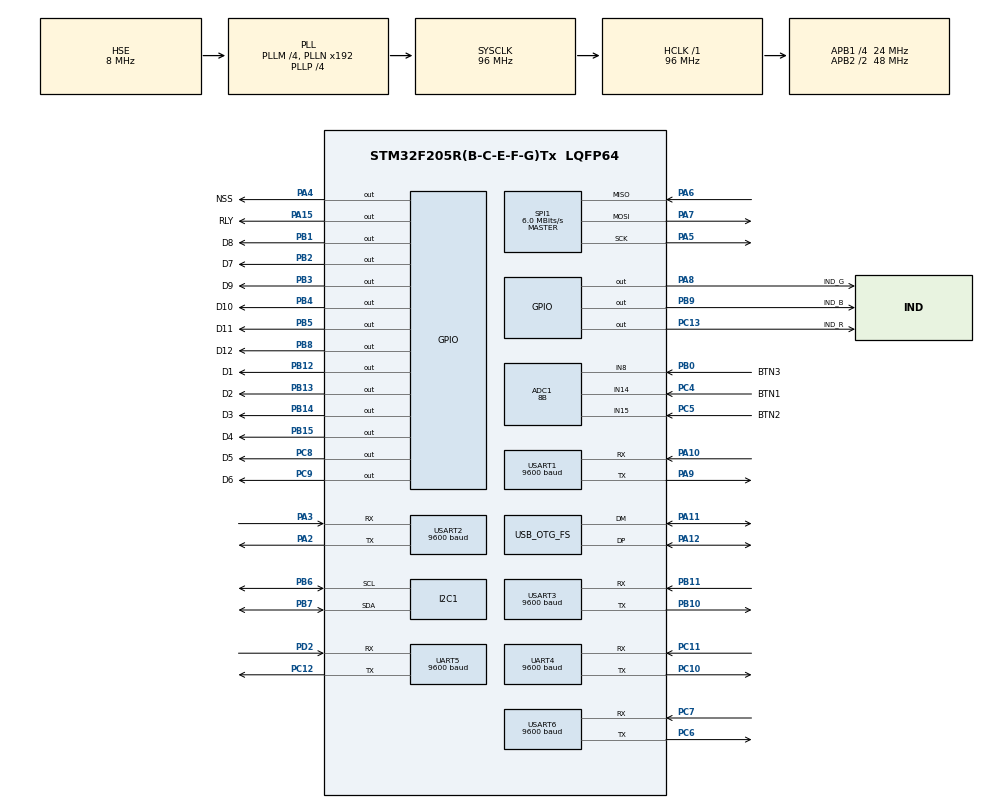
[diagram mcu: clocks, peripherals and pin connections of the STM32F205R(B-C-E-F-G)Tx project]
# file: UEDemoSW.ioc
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ADC1.Channel-4\#ChannelRegularConversion=ADC_CHANNEL_14
ADC1.Channel-5\#ChannelRegularConversion=ADC_CHANNEL_15
ADC1.Channel-6\#ChannelRegularConversion=ADC_CHANNEL_8
ADC1.ClockPrescaler=ADC_CLOCK_SYNC_PCLK_DIV4
ADC1.ContinuousConvMode=ENABLE
ADC1.DMAContinuousRequests=ENABLE
ADC1.DataAlign=ADC_DATAALIGN_RIGHT
ADC1.EOCSelection=ADC_EOC_SEQ_CONV
ADC1.ExternalTrigConv=ADC_EXTERNALTRIGCONV_T2_TRGO
ADC1.InjNumberOfConversion=0
ADC1.NbrOfConversion=3
ADC1.NbrOfConversionFlag=1
ADC1.Rank-4\#ChannelRegularConversion=1
ADC1.Rank-5\#ChannelRegularConversion=2
ADC1.Rank-6\#ChannelRegularConversion=3
ADC1.Resolution=ADC_RESOLUTION_8B
ADC1.SamplingTime-4\#ChannelRegularConversion=ADC_SAMPLETIME_84CYCLES
ADC1.SamplingTime-5\#ChannelRegularConversion=ADC_SAMPLETIME_84CYCLES
ADC1.SamplingTime-6\#ChannelRegularConversion=ADC_SAMPLETIME_84CYCLES
ADC1.ScanConvMode=ENABLE
ADC1.master=1
Dma.ADC1.0.Direction=DMA_PERIPH_TO_MEMORY
Dma.ADC1.0.FIFOMode=DMA_FIFOMODE_DISABLE
Dma.ADC1.0.Instance=DMA2_Stream0
Dma.ADC1.0.MemDataAlignment=DMA_MDATAALIGN_WORD
Dma.ADC1.0.MemInc=DMA_MINC_ENABLE
Dma.ADC1.0.Mode=DMA_CIRCULAR
Dma.ADC1.0.PeriphDataAlignment=DMA_PDATAALIGN_WORD
Dma.ADC1.0.PeriphInc=DMA_PINC_DISABLE
Dma.ADC1.0.Priority=DMA_PRIORITY_LOW
Dma.Request0=ADC1
FATFS._MAX_SS=4096
FATFS._USE_LFN=1
Mcu.Family=STM32F2
Mcu.Name=STM32F205R(B-C-E-F-G)Tx
Mcu.Package=LQFP64
NVIC.DMA2_Stream0_IRQn=true\:0\:0\:false\:false\:true\:false
NVIC.OTG_FS_IRQn=true\:0\:0\:false\:false\:true\:false
NVIC.PriorityGroup=NVIC_PRIORITYGROUP_4
NVIC.TIM1_UP_TIM10_IRQn=true\:0\:0\:false\:false\:true\:true
NVIC.TIM3_IRQn=true\:0\:0\:false\:false\:true\:true
NVIC.UART4_IRQn=true\:0\:0\:false\:false\:true\:true
NVIC.UART5_IRQn=true\:0\:0\:false\:false\:true\:true
NVIC.USART1_IRQn=true\:0\:0\:false\:false\:true\:true
NVIC.USART2_IRQn=true\:0\:0\:false\:false\:true\:true
NVIC.USART3_IRQn=true\:0\:0\:false\:false\:true\:true
NVIC.USART6_IRQn=true\:0\:0\:false\:false\:true\:true
PA0-WKUP.GPIO_Label=A5
PA0-WKUP.Signal=ADCx_IN0
PA1.GPIO_Label=A6
PA1.Signal=ADCx_IN1
PA10.Mode=Asynchronous
PA10.Signal=USART1_RX
PA11.Mode=Device_Only
PA11.Signal=USB_OTG_FS_DM
PA12.Mode=Device_Only
PA12.Signal=USB_OTG_FS_DP
PA15.GPIO_Label=RLY
PA15.Signal=GPIO_Output
PA2.Mode=Asynchronous
PA2.Signal=USART2_TX
PA3.Mode=Asynchronous
PA3.Signal=USART2_RX
PA4.GPIO_Label=NSS
PA4.GPIO_Speed=GPIO_SPEED_FREQ_MEDIUM
PA4.PinState=GPIO_PIN_SET
PA4.Signal=GPIO_Output
PA5.Mode=Full_Duplex_Master
PA5.Signal=SPI1_SCK
PA6.Mode=Full_Duplex_Master
PA6.Signal=SPI1_MISO
PA7.Mode=Full_Duplex_Master
PA7.Signal=SPI1_MOSI
PA8.GPIO_Label=IND_G
PA8.PinState=GPIO_PIN_SET
PA8.Signal=GPIO_Output
PA9.Mode=Asynchronous
PA9.Signal=USART1_TX
PB0.GPIO_Label=BTN3
PB0.Signal=ADCx_IN8
PB1.GPIO_Label=D8
PB1.Signal=GPIO_Output
PB10.Mode=Asynchronous
PB10.Signal=USART3_TX
PB11.Mode=Asynchronous
PB11.Signal=USART3_RX
PB12.GPIO_Label=D1
PB12.Signal=GPIO_Output
PB13.GPIO_Label=D2
PB13.Signal=GPIO_Output
PB14.GPIO_Label=D3
PB14.Signal=GPIO_Output
PB15.GPIO_Label=D4
PB15.Signal=GPIO_Output
PB2.GPIO_Label=D7
PB2.Signal=GPIO_Output
PB3.GPIO_Label=D9
PB3.Signal=GPIO_Output
PB4.GPIO_Label=D10
PB4.Signal=GPIO_Output
PB5.GPIO_Label=D11
PB5.Signal=GPIO_Output
PB6.Mode=I2C
PB6.Signal=I2C1_SCL
PB7.Mode=I2C
PB7.Signal=I2C1_SDA
PB8.GPIO_Label=D12
PB8.Signal=GPIO_Output
PB9.GPIO_Label=IND_B
PB9.PinState=GPIO_PIN_SET
PB9.Signal=GPIO_Output
PC0.GPIO_Label=A1
PC0.Signal=ADCx_IN10
PC1.GPIO_Label=A2
PC1.Signal=ADCx_IN11
PC10.Mode=Asynchronous
PC10.Signal=UART4_TX
PC11.Mode=Asynchronous
PC11.Signal=UART4_RX
PC12.Mode=Asynchronous
PC12.Signal=UART5_TX
PC13.GPIO_Label=IND_R
PC13.PinState=GPIO_PIN_SET
PC13.Signal=GPIO_Output
PC14-OSC32_IN.Mode=LSE-External-Oscillator
PC14-OSC32_IN.Signal=RCC_OSC32_IN
PC15-OSC32_OUT.Mode=LSE-External-Oscillator
PC15-OSC32_OUT.Signal=RCC_OSC32_OUT
PC2.GPIO_Label=A3
PC2.Signal=ADCx_IN12
PC3.GPIO_Label=A4
PC3.Signal=ADCx_IN13
PC4.GPIO_Label=BTN1
PC4.Signal=ADCx_IN14
PC5.GPIO_Label=BTN2
PC5.Signal=ADCx_IN15
PC6.Mode=Asynchronous
PC6.Signal=USART6_TX
PC7.Mode=Asynchronous
PC7.Signal=USART6_RX
PC8.GPIO_Label=D5
PC8.Signal=GPIO_Output
PC9.GPIO_Label=D6
PC9.Signal=GPIO_Output
PD2.Mode=Asynchronous
PD2.Signal=UART5_RX
PH0-OSC_IN.Mode=HSE-External-Oscillator
PH0-OSC_IN.Signal=RCC_OSC_IN
PH1-OSC_OUT.Mode=HSE-External-Oscillator
PH1-OSC_OUT.Signal=RCC_OSC_OUT
ProjectManager.HeapSize=0x2000
ProjectManager.StackSize=0x4000
ProjectManager.TargetToolchain=SW4STM32
RCC.48MHZClocksFreq_Value=48000000
RCC.AHBFreq_Value=96000000
RCC.APB1CLKDivider=RCC_HCLK_DIV4
RCC.APB1Freq_Value=24000000
RCC.APB1TimFreq_Value=48000000
RCC.APB2CLKDivider=RCC_HCLK_DIV2
RCC.APB2Freq_Value=48000000
RCC.APB2TimFreq_Value=96000000
RCC.CortexFreq_Value=96000000
RCC.HCLKFreq_Value=96000000
RCC.HSE_VALUE=8000000
RCC.HSI_VALUE=16000000
RCC.PLLM=4
RCC.PLLP=RCC_PLLP_DIV4
RCC.PLLQ=8
RCC.PLLSourceVirtual=RCC_PLLSOURCE_HSE
RCC.RCC_RTC_Clock_Source=RCC_RTCCLKSOURCE_LSE
RCC.RCC_RTC_Clock_SourceVirtual=RCC_RTCCLKSOURCE_LSE
RCC.SYSCLKFreq_VALUE=96000000
RCC.SYSCLKSource=RCC_SYSCLKSOURCE_PLLCLK
RCC.VCOOutputFreq_Value=384000000
RTC.Date=12
RTC.Format=RTC_FORMAT_BIN
RTC.Hours=3
RTC.Minutes=17
RTC.Month=RTC_MONTH_DECEMBER
RTC.WeekDay=RTC_WEEKDAY_THURSDAY
RTC.Year=18
SH.ADCx_IN0.0=ADC1_IN0
SH.ADCx_IN1.0=ADC1_IN1
SH.ADCx_IN10.0=ADC1_IN10
SH.ADCx_IN11.0=ADC1_IN11
SH.ADCx_IN12.0=ADC1_IN12
SH.ADCx_IN13.0=ADC1_IN13
SH.ADCx_IN14.0=ADC1_IN14,IN14
SH.ADCx_IN15.0=ADC1_IN15,IN15
SH.ADCx_IN8.0=ADC1_IN8,IN8
SPI1.BaudRatePrescaler=SPI_BAUDRATEPRESCALER_8
SPI1.CalculateBaudRate=6.0 MBits/s
SPI1.Direction=SPI_DIRECTION_2LINES
SPI1.Mode=SPI_MODE_MASTER
SPI1.VirtualType=VM_MASTER
TIM10.Period=10
TIM10.Prescaler=48000
TIM2.Period=100
TIM2.Prescaler=1600
TIM2.TIM_MasterOutputTrigger=TIM_TRGO_UPDATE
TIM3.Period=9
TIM3.Prescaler=48000
UART4.BaudRate=9600
UART4.VirtualMode=Asynchronous
UART5.BaudRate=9600
UART5.VirtualMode=Asynchronous
USART1.BaudRate=9600
USART1.VirtualMode=VM_ASYNC
USART2.BaudRate=9600
USART2.VirtualMode=VM_ASYNC
USART3.BaudRate=9600
USART3.VirtualMode=VM_ASYNC
USART6.BaudRate=9600
USART6.VirtualMode=VM_ASYNC
USB_DEVICE.CLASS_NAME_FS=CDC
USB_DEVICE.MANUFACTURER_STRING-CDC_FS=Instinct IoT
USB_DEVICE.PRODUCT_STRING_CDC_FS=Instinct IoT ComPort
USB_DEVICE.VirtualMode-CDC_FS=Cdc
USB_DEVICE.VirtualModeFS=Cdc_FS
USB_OTG_FS.VirtualMode=Device_Only
VP_FATFS_VS_Generic.Mode=User_defined
VP_RTC_VS_RTC_Activate.Mode=RTC_Enabled
VP_RTC_VS_RTC_Calendar.Mode=RTC_Calendar
VP_TIM10_VS_ClockSourceINT.Mode=Enable_Timer
VP_TIM2_VS_ClockSourceINT.Mode=Internal
VP_TIM3_VS_ClockSourceINT.Mode=Internal
VP_USB_DEVICE_VS_USB_DEVICE_CDC_FS.Mode=CDC_FS
board=custom

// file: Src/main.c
/* USER CODE BEGIN Header */
/**
  ******************************************************************************
  * @file           : main.c
  * @brief          : Main program body
  *
  * NOTES:
  * - printf requires syscalls.c to be in /src folder, along with PUTCHAR prototype mapped to a UART
  * - If compiler not working, go to Debug -> Debug Configurations -> Debugger -> Show generation options -> Reset Mode
  *   -> Software System Reset
  ******************************************************************************
  * This notice applies to any and all portions of this file
  * that are not between comment pairs USER CODE BEGIN and
  * USER CODE END. Other portions of this file, whether
  * inserted by the user or by software development tools
  * are owned by their respective copyright owners.
  *
  * Copyright (c) 2019 STMicroelectronics International N.V.
  * All rights reserved.
  *
  * Redistribution and use in source and binary forms, with or without
  * modification, are permitted, provided that the following conditions are met:
  *
  * 1. Redistribution of source code must retain the above copyright notice,
  *    this list of conditions and the following disclaimer.
  * 2. Redistributions in binary form must reproduce the above copyright notice,
  *    this list of conditions and the following disclaimer in the documentation
  *    and/or other materials provided with the distribution.
  * 3. Neither the name of STMicroelectronics nor the names of other
  *    contributors to this software may be used to endorse or promote products
  *    derived from this software without specific written permission.
  * 4. This software, including modifications and/or derivative works of this
  *    software, must execute solely and exclusively on microcontroller or
  *    microprocessor devices manufactured by or for STMicroelectronics.
  * 5. Redistribution and use of this software other than as permitted under
  *    this license is void and will automatically terminate your rights under
  *    this license.
  *
  * THIS SOFTWARE IS PROVIDED BY STMICROELECTRONICS AND CONTRIBUTORS "AS IS"
  * AND ANY EXPRESS, IMPLIED OR STATUTORY WARRANTIES, INCLUDING, BUT NOT
  * LIMITED TO, THE IMPLIED WARRANTIES OF MERCHANTABILITY, FITNESS FOR A
  * PARTICULAR PURPOSE AND NON-INFRINGEMENT OF THIRD PARTY INTELLECTUAL PROPERTY
  * RIGHTS ARE DISCLAIMED TO THE FULLEST EXTENT PERMITTED BY LAW. IN NO EVENT
  * SHALL STMICROELECTRONICS OR CONTRIBUTORS BE LIABLE FOR ANY DIRECT, INDIRECT,
  * INCIDENTAL, SPECIAL, EXEMPLARY, OR CONSEQUENTIAL DAMAGES (INCLUDING, BUT NOT
  * LIMITED TO, PROCUREMENT OF SUBSTITUTE GOODS OR SERVICES; LOSS OF USE, DATA,
  * OR PROFITS; OR BUSINESS INTERRUPTION) HOWEVER CAUSED AND ON ANY THEORY OF
  * LIABILITY, WHETHER IN CONTRACT, STRICT LIABILITY, OR TORT (INCLUDING
  * NEGLIGENCE OR OTHERWISE) ARISING IN ANY WAY OUT OF THE USE OF THIS SOFTWARE,
  * EVEN IF ADVISED OF THE POSSIBILITY OF SUCH DAMAGE.
  *
  ******************************************************************************
  */

	//REFERENCES:
	//USB CDC		https://www.youtube.com/watch?v=Jpul3w10tOU
	//ADC DMA		https://www.youtube.com/watch?v=GP67dgnurvw

/* USER CODE END Header */

#include "main.h"
#include "fatfs.h"
#include "usb_device.h"

/* USER CODE BEGIN Includes */
#include "usbd_cdc_if.h"
#include "dwt_stm32_delay.h"

//Custom configuration Includes

#include "button_conf.h"
#include "audio_conf.h"
#include "sd_conf.h"

#include "actions.h"
#include "events.h"

/* USER CODE END Includes */

ADC_HandleTypeDef hadc1;
DMA_HandleTypeDef hdma_adc1;

I2C_HandleTypeDef hi2c1;

RTC_HandleTypeDef hrtc;

SPI_HandleTypeDef hspi1;

TIM_HandleTypeDef htim2;
TIM_HandleTypeDef htim3;
TIM_HandleTypeDef htim10;

UART_HandleTypeDef huart4;
UART_HandleTypeDef huart5;
UART_HandleTypeDef huart1;
UART_HandleTypeDef huart2;
UART_HandleTypeDef huart3;
UART_HandleTypeDef huart6;

/* USER CODE BEGIN PV */

//SD Card Variables
FATFS fs;
FATFS *pfs;
FIL fil;
FRESULT fres;
DWORD fre_clust;
uint32_t total,freespace;
char buffer[100];
volatile uint8_t Timer1, Timer2;

// System Variables
int i=0;
int usb_data = 0;

//Data Buffers

static uint8_t uart1_recv_data[uart_recv_length];
static uint8_t uart2_recv_data[uart_recv_length];
static uint8_t uart3_recv_data[uart_recv_length];
static uint8_t uart4_recv_data[uart_recv_length];
static uint8_t uart5_recv_data[uart_recv_length];
static uint8_t uart6_recv_data[uart_recv_length];

static uint8_t uart1_command[uart_command_length];
static uint8_t uart2_command[uart_command_length];
static uint8_t uart3_command[uart_command_length];
static uint8_t uart4_command[uart_command_length];
static uint8_t uart5_command[uart_command_length];
static uint8_t uart6_command[uart_command_length];

int uart1_pointer = 0;
int uart2_pointer = 0;
int uart3_pointer = 0;
int uart4_pointer = 0;
int uart5_pointer = 0;
int uart6_pointer = 0;

uint8_t print_buffer[10];
uint8_t mp3_command[1];
uint8_t led_command[1];
uint8_t usb_rx[20];
uint8_t usb_tx[20];
uint8_t log_buffer[100];
uint8_t sd_buffer[1000];

// Data Point Variables
uint8_t id_sensor [3];
uint8_t sensor_num [3];
uint8_t data [3];

// RTC BACKUP REGISTER
uint32_t bkr_value;

// Audio & Digital Pot Variables
int Value = 511;
uint8_t currentPort = 0x00;
_Bool playing = 0;

// System Logic
uint8_t inByte;						// Last byte read from SD

int systemLogic[300][10];	// 2D Matrix which maps events to actions
int systemAction = 0;				// Action Pointer
int systemEvent = 0;				// Event Pointer
uint8_t numberBuffer[4];
int numberBufferPointer = 0;

// SD Serial Commands
char serialRX[100][20];			// Receivable commands
char serialTX[100][20];			// Send commands
int serialCmdPointer = 0;		// Command Pointer
int serialCharPointer = 0;		// Character Pointer

// Loop Counters
int i;
int j;

// ADC Values
uint32_t btnVal[3];

// Time Buffer
unsigned char *date_string [10];
unsigned char *time_string [10];

/* USER CODE END PV */

void SystemClock_Config(void);
static void MX_GPIO_Init(void);
static void MX_DMA_Init(void);
static void MX_USART2_UART_Init(void);
static void MX_USART3_UART_Init(void);
static void MX_UART4_Init(void);
static void MX_UART5_Init(void);
static void MX_SPI1_Init(void);
static void MX_ADC1_Init(void);
static void MX_RTC_Init(void);
static void MX_USART1_UART_Init(void);
static void MX_I2C1_Init(void);
static void MX_USART6_UART_Init(void);
static void MX_TIM3_Init(void);
static void MX_TIM2_Init(void);
static void MX_TIM10_Init(void);
/* USER CODE BEGIN PFP */

void HAL_TIM_PeriodElapsedCallback(TIM_HandleTypeDef*htim){
	if(htim->Instance == TIM3){

	}
}

void getTime(void){
	RTC_DateTypeDef gDate;
	RTC_TimeTypeDef gTime;

	// Get the RTC current time
	HAL_RTC_GetTime(&hrtc, &gTime, RTC_FORMAT_BIN);

	// Get the RTC current date
	HAL_RTC_GetDate(&hrtc, &gDate, RTC_FORMAT_BIN);
	//sprintf(date_string, "%02d-%02d-%02d",gDate.Year + 2000, gDate.Month, gDate.Date);
	//sprintf(time_string, "%02d:%02d:%02d",gTime.Hours, gTime.Minutes, gTime.Seconds);
}

int receiveSerial(uint8_t port, uint8_t uart_recv_data[], uint8_t uart_command[uart_command_length], int uart_pointer){
	if(uart_recv_data[0] != '\r' && uart_recv_data[0] != '\n'){
		uart_command[uart_pointer] = uart_recv_data[0];
		uart_pointer++;
	}else{
		uart_pointer=0;
		memset(uart_command,0,uart_command_length);
	}
	if(uart_recv_data[0] == ']'){
		if(forwardSerial(uart_command) == 0){
			getSerialEvent(port,uart_command);
		}
		uart_pointer = 0;
		memset(uart_command,0,uart_command_length);
	}
	if(uart_pointer == 11){
		uart_pointer = 0;
		memset(uart_command,0,uart_command_length);
	}
	return uart_pointer;
}

int logSerial(){
	return(1);
}

int forwardSerial(uint8_t serial_buffer[]){
	//Returns 0 if not forwarded
	uint8_t serial_out[strlen(serial_buffer)];
	UART_HandleTypeDef* huart;
	if(serial_buffer[0] != '['){
		switch(serial_buffer[0]){
			case 'U':
				memmove(serial_out, serial_buffer+1, strlen (serial_buffer+1) + 1);
				CDC_Transmit_FS(serial_out, strlen(serial_out));
				return(1);
			case '1':
				huart = &huart1;
				break;
			case '2':
				huart = &huart2;
				break;
			case '3':
				huart = &huart3;
				break;
			case '4':
				huart = &huart4;
				break;
			case '5':
				huart = &huart5;
				break;
			case '6':
				huart = &huart6;
				break;
		}
		memmove(serial_out, serial_buffer+1, strlen (serial_buffer+1) + 1);
		HAL_UART_Transmit(huart,serial_out, strlen(serial_out), 100);
		return(1);
	}
	else{
		return(0);
	}
}

/* USER CODE END PFP */

/* USER CODE BEGIN 0 */

#ifdef __GNUC__
/* With GCC/RAISONANCE, small printf (option LD Linker->Libraries->Small printf
 set to 'Yes') calls __io_putchar() */
#define PUTCHAR_PROTOTYPE int __io_putchar(int ch)
#else
#define PUTCHAR_PROTOTYPE int fputc(int ch, FILE *f)
#endif /* __GNUC__ */

//UART CALLBACK
void HAL_UART_RxCpltCallback(UART_HandleTypeDef *huart){

	/*
	Serial Ports:

	UART6		UART4		UART2
	UART3		UART1		UART5

	printf configured to UART1
	*/

	// UART1
	if(huart->Instance == USART1){
		uart1_pointer = receiveSerial('1', uart1_recv_data, uart1_command, uart1_pointer);
		HAL_UART_Receive_IT(&huart1, uart1_recv_data, uart_recv_length);
	}

	// UART2
	if(huart->Instance == USART2){
		uart2_pointer = receiveSerial('2', uart2_recv_data, uart2_command, uart2_pointer);
		HAL_UART_Receive_IT(&huart2, uart2_recv_data, uart_recv_length);
	}

	// UART3
	if(huart->Instance == USART3){
		uart3_pointer = receiveSerial('3', uart3_recv_data, uart3_command, uart3_pointer);
		HAL_UART_Receive_IT(&huart3, uart3_recv_data, uart_recv_length);
	}

	// UART4
	if(huart->Instance == UART4){
		uart4_pointer = receiveSerial('4', uart4_recv_data, uart4_command, uart4_pointer);
		HAL_UART_Receive_IT(&huart4, uart4_recv_data, uart_recv_length);
	}

	// UART5
	if(huart->Instance == UART5){
		uart5_pointer = receiveSerial('2', uart5_recv_data, uart5_command, uart5_pointer);
		HAL_UART_Receive_IT(&huart5, uart5_recv_data, uart_recv_length);
	}

	// UART6
	if(huart->Instance == USART6){
		uart6_pointer = receiveSerial('6', uart6_recv_data, uart6_command, uart6_pointer);
		HAL_UART_Receive_IT(&huart6, uart6_recv_data, uart_recv_length);
	}
}
/* USER CODE END 0 */

int main(void)
{

  /* MCU Configuration--------------------------------------------------------*/

  /* Reset of all peripherals, Initializes the Flash interface and the Systick. */
  HAL_Init();

  /* Configure the system clock */
  SystemClock_Config();

  /* Initialize all configured peripherals */
  MX_GPIO_Init();
  MX_DMA_Init();
  MX_USART2_UART_Init();
  MX_USART3_UART_Init();
  MX_UART4_Init();
  MX_UART5_Init();
  MX_SPI1_Init();
  MX_ADC1_Init();
  MX_RTC_Init();
  MX_USART1_UART_Init();
  MX_I2C1_Init();
  MX_USART6_UART_Init();
  MX_USB_DEVICE_Init();
  MX_FATFS_Init();
  MX_TIM3_Init();
  MX_TIM2_Init();
  MX_TIM10_Init();
  /* USER CODE BEGIN 2 */

  //TIMER & DELAYS
	DWT_Delay_Init();
	HAL_TIM_Base_Start_IT(&htim3);

	//UARTS
	HAL_UART_Receive_IT(&huart1, uart1_recv_data, uart_recv_length);	//Start UART1 Interrupt
	HAL_UART_Receive_IT(&huart2, uart2_recv_data, uart_recv_length);	//Start UART2 Interrupt
	HAL_UART_Receive_IT(&huart3, uart3_recv_data, uart_recv_length);	//Start UART3 Interrupt
	HAL_UART_Receive_IT(&huart4, uart4_recv_data, uart_recv_length);	//Start UART4 Interrupt
	HAL_UART_Receive_IT(&huart5, uart5_recv_data, uart_recv_length);	//Start UART5 Interrupt
	HAL_UART_Receive_IT(&huart6, uart6_recv_data, uart_recv_length);	//Start UART6 Interrupt

	//USB

	//GPIOS
	HAL_GPIO_WritePin(GPIOA,GPIO_PIN_15,GPIO_PIN_SET);	//RELAY

	//INIT BUTTON
	//Start Button Timer
	HAL_TIM_Base_Start(&htim2);
	//Start ADC as DMA
	HAL_ADC_Start_DMA(&hadc1,btnVal,3);

	HAL_TIM_Base_Start_IT(&htim10);

	mutePorts();

	// Parse System Logic from config.txt on microSD Card
	memset(sd_buffer, 0, sizeof(sd_buffer));

	f_mount(&fs, "", 0);
	f_open(&fil,"config.txt",FA_READ);
	f_read(&fil,&sd_buffer,1000,1000);
	f_close(&fil);	// Close the file

	numberBufferPointer = 0;
	memset(numberBuffer,0, sizeof(numberBuffer));

	for(i=0; i<sizeof(sd_buffer); i++){
		inByte = sd_buffer[i];

		if(inByte == '|'){
			systemEvent = atoi(numberBuffer);
			systemAction = 0;
			numberBufferPointer = 0;
			memset(numberBuffer,0, sizeof(numberBuffer));
		}
		else if(inByte == ',' || inByte == ';'){
			systemLogic[systemEvent][systemAction] = atoi(numberBuffer);
			systemAction++;
			numberBufferPointer = 0;
			memset(numberBuffer,0, sizeof(numberBuffer));
		}
		else if(inByte == '\r' || inByte == ' ' || inByte == '\0'){
			//Skip
		}
		else if(inByte == '\n'){
			numberBufferPointer = 0;
			memset(numberBuffer,0, sizeof(numberBuffer));
		}
		else{
			numberBuffer[numberBufferPointer] = inByte;
			numberBufferPointer++;
		}
	}

	// Parse commands from serialTX.txt on microSD Card
	memset(sd_buffer, 0, sizeof(sd_buffer));

	f_mount(&fs, "", 0);
	f_open(&fil,"serialTX.txt",FA_READ);
	f_read(&fil,&sd_buffer,1000,1000);
	f_close(&fil);	// Close the file

	serialCmdPointer = 0;
	for(i=0; i<sizeof(sd_buffer); i++){
		inByte = sd_buffer[i];

		if(inByte == '|'){
			serialCharPointer = 0;
		}
		else if(inByte == ',' || inByte == ';'){
		}
		else if(inByte == '\r' || inByte == ' '){
			//Skip
		}
		else if(inByte == '\n'){
			serialCmdPointer++;
			serialCharPointer = 0;
		}
		else{
			serialTX[serialCmdPointer][serialCharPointer] = inByte;
			serialCharPointer++;
		}
	}

	// Parse commands from serialRX.txt on microSD Card
	memset(sd_buffer, 0, sizeof(sd_buffer));

	f_mount(&fs, "", 0);
	f_open(&fil,"serialRX.txt",FA_READ);
	f_read(&fil,&sd_buffer,1000,1000);
	f_close(&fil);	// Close the file

	serialCmdPointer = 0;
	for(i=0; i<sizeof(sd_buffer); i++){
		inByte = sd_buffer[i];

		if(inByte == '|'){
			serialCharPointer = 0;
		}
		else if(inByte == ',' || inByte == ';'){
		}
		else if(inByte == '\r' || inByte == ' '){
			//Skip
		}
		else if(inByte == '\n'){
			serialCmdPointer++;
			serialCharPointer = 0;
		}
		else{
			serialRX[serialCmdPointer][serialCharPointer] = inByte;
			serialCharPointer++;
		}
	}

	performAction(2);

  /* USER CODE END 2 */

  /* Infinite loop */
  /* USER CODE BEGIN WHILE */
  while (1)
  {
	  // CHECK BUTTONS
	  getButtonEvent();

	  // RECEIVE USB COMMANDS
	  if(usb_data == 1){
		  usb_data = 0;
		  if (forwardSerial(usb_rx) == 0){
			  //performAction?
			  getSerialEvent('U',usb_rx);
		  }
		  memset(usb_rx,0,sizeof(usb_rx));
	  }

    /* USER CODE END WHILE */

  }
}

void SystemClock_Config(void)
{
  RCC_OscInitTypeDef RCC_OscInitStruct = {0};
  RCC_ClkInitTypeDef RCC_ClkInitStruct = {0};
  RCC_PeriphCLKInitTypeDef PeriphClkInitStruct = {0};

  /**Initializes the CPU, AHB and APB busses clocks
  */
  RCC_OscInitStruct.OscillatorType = RCC_OSCILLATORTYPE_HSE|RCC_OSCILLATORTYPE_LSE;
  RCC_OscInitStruct.HSEState = RCC_HSE_ON;
  RCC_OscInitStruct.LSEState = RCC_LSE_ON;
  RCC_OscInitStruct.PLL.PLLState = RCC_PLL_ON;
  RCC_OscInitStruct.PLL.PLLSource = RCC_PLLSOURCE_HSE;
  RCC_OscInitStruct.PLL.PLLM = 4;
  RCC_OscInitStruct.PLL.PLLN = 192;
  RCC_OscInitStruct.PLL.PLLP = RCC_PLLP_DIV4;
  RCC_OscInitStruct.PLL.PLLQ = 8;
  if (HAL_RCC_OscConfig(&RCC_OscInitStruct) != HAL_OK)
  {
    Error_Handler();
  }
  /**Initializes the CPU, AHB and APB busses clocks
  */
  RCC_ClkInitStruct.ClockType = RCC_CLOCKTYPE_HCLK|RCC_CLOCKTYPE_SYSCLK
                              |RCC_CLOCKTYPE_PCLK1|RCC_CLOCKTYPE_PCLK2;
  RCC_ClkInitStruct.SYSCLKSource = RCC_SYSCLKSOURCE_PLLCLK;
  RCC_ClkInitStruct.AHBCLKDivider = RCC_SYSCLK_DIV1;
  RCC_ClkInitStruct.APB1CLKDivider = RCC_HCLK_DIV4;
  RCC_ClkInitStruct.APB2CLKDivider = RCC_HCLK_DIV2;

  if (HAL_RCC_ClockConfig(&RCC_ClkInitStruct, FLASH_LATENCY_3) != HAL_OK)
  {
    Error_Handler();
  }
  PeriphClkInitStruct.PeriphClockSelection = RCC_PERIPHCLK_RTC;
  PeriphClkInitStruct.RTCClockSelection = RCC_RTCCLKSOURCE_LSE;
  if (HAL_RCCEx_PeriphCLKConfig(&PeriphClkInitStruct) != HAL_OK)
  {
    Error_Handler();
  }
}

static void MX_ADC1_Init(void)
{

  ADC_ChannelConfTypeDef sConfig = {0};

  /**Configure the global features of the ADC (Clock, Resolution, Data Alignment and number of conversion)
  */
  hadc1.Instance = ADC1;
  hadc1.Init.ClockPrescaler = ADC_CLOCK_SYNC_PCLK_DIV4;
  hadc1.Init.Resolution = ADC_RESOLUTION_8B;
  hadc1.Init.ScanConvMode = ENABLE;
  hadc1.Init.ContinuousConvMode = ENABLE;
  hadc1.Init.DiscontinuousConvMode = DISABLE;
  hadc1.Init.ExternalTrigConvEdge = ADC_EXTERNALTRIGCONVEDGE_RISING;
  hadc1.Init.ExternalTrigConv = ADC_EXTERNALTRIGCONV_T2_TRGO;
  hadc1.Init.DataAlign = ADC_DATAALIGN_RIGHT;
  hadc1.Init.NbrOfConversion = 3;
  hadc1.Init.DMAContinuousRequests = ENABLE;
  hadc1.Init.EOCSelection = ADC_EOC_SEQ_CONV;
  if (HAL_ADC_Init(&hadc1) != HAL_OK)
  {
    Error_Handler();
  }
  /**Configure for the selected ADC regular channel its corresponding rank in the sequencer and its sample time.
  */
  sConfig.Channel = ADC_CHANNEL_14;
  sConfig.Rank = 1;
  sConfig.SamplingTime = ADC_SAMPLETIME_84CYCLES;
  if (HAL_ADC_ConfigChannel(&hadc1, &sConfig) != HAL_OK)
  {
    Error_Handler();
  }
  /**Configure for the selected ADC regular channel its corresponding rank in the sequencer and its sample time.
  */
  sConfig.Channel = ADC_CHANNEL_15;
  sConfig.Rank = 2;
  if (HAL_ADC_ConfigChannel(&hadc1, &sConfig) != HAL_OK)
  {
    Error_Handler();
  }
  /**Configure for the selected ADC regular channel its corresponding rank in the sequencer and its sample time.
  */
  sConfig.Channel = ADC_CHANNEL_8;
  sConfig.Rank = 3;
  if (HAL_ADC_ConfigChannel(&hadc1, &sConfig) != HAL_OK)
  {
    Error_Handler();
  }

}

static void MX_I2C1_Init(void)
{

  hi2c1.Instance = I2C1;
  hi2c1.Init.ClockSpeed = 100000;
  hi2c1.Init.DutyCycle = I2C_DUTYCYCLE_2;
  hi2c1.Init.OwnAddress1 = 0;
  hi2c1.Init.AddressingMode = I2C_ADDRESSINGMODE_7BIT;
  hi2c1.Init.DualAddressMode = I2C_DUALADDRESS_DISABLE;
  hi2c1.Init.OwnAddress2 = 0;
  hi2c1.Init.GeneralCallMode = I2C_GENERALCALL_DISABLE;
  hi2c1.Init.NoStretchMode = I2C_NOSTRETCH_DISABLE;
  if (HAL_I2C_Init(&hi2c1) != HAL_OK)
  {
    Error_Handler();
  }

}

static void MX_RTC_Init(void)
{

  RTC_TimeTypeDef sTime = {0};
  RTC_DateTypeDef sDate = {0};

  /**Initialize RTC Only
  */
  hrtc.Instance = RTC;
  hrtc.Init.HourFormat = RTC_HOURFORMAT_24;
  hrtc.Init.AsynchPrediv = 127;
  hrtc.Init.SynchPrediv = 255;
  hrtc.Init.OutPut = RTC_OUTPUT_DISABLE;
  hrtc.Init.OutPutPolarity = RTC_OUTPUT_POLARITY_HIGH;
  hrtc.Init.OutPutType = RTC_OUTPUT_TYPE_OPENDRAIN;
  if (HAL_RTC_Init(&hrtc) != HAL_OK)
  {
    Error_Handler();
  }

  /* USER CODE BEGIN Check_RTC_BKUP */
  bkr_value = HAL_RTCEx_BKUPRead(&hrtc, RTC_BKP_DR1);
  if(HAL_RTCEx_BKUPRead(&hrtc, RTC_BKP_DR1) == 0x5051){
	  return;
  }
  /* USER CODE END Check_RTC_BKUP */

  /**Initialize RTC and set the Time and Date
  */
  sTime.Hours = 3;
  sTime.Minutes = 17;
  sTime.Seconds = 0;
  sTime.DayLightSaving = RTC_DAYLIGHTSAVING_NONE;
  sTime.StoreOperation = RTC_STOREOPERATION_RESET;
  if (HAL_RTC_SetTime(&hrtc, &sTime, RTC_FORMAT_BIN) != HAL_OK)
  {
    Error_Handler();
  }
  sDate.WeekDay = RTC_WEEKDAY_THURSDAY;
  sDate.Month = RTC_MONTH_DECEMBER;
  sDate.Date = 12;
  sDate.Year = 18;

  if (HAL_RTC_SetDate(&hrtc, &sDate, RTC_FORMAT_BIN) != HAL_OK)
  {
    Error_Handler();
  }
  /* USER CODE BEGIN RTC_Init 2 */
  HAL_RTCEx_BKUPWrite(&hrtc, RTC_BKP_DR1, 0x5051);//Write data to the specified backing area register
  /* USER CODE END RTC_Init 2 */

}

static void MX_SPI1_Init(void)
{

  /* SPI1 parameter configuration*/
  hspi1.Instance = SPI1;
  hspi1.Init.Mode = SPI_MODE_MASTER;
  hspi1.Init.Direction = SPI_DIRECTION_2LINES;
  hspi1.Init.DataSize = SPI_DATASIZE_8BIT;
  hspi1.Init.CLKPolarity = SPI_POLARITY_LOW;
  hspi1.Init.CLKPhase = SPI_PHASE_1EDGE;
  hspi1.Init.NSS = SPI_NSS_SOFT;
  hspi1.Init.BaudRatePrescaler = SPI_BAUDRATEPRESCALER_8;
  hspi1.Init.FirstBit = SPI_FIRSTBIT_MSB;
  hspi1.Init.TIMode = SPI_TIMODE_DISABLE;
  hspi1.Init.CRCCalculation = SPI_CRCCALCULATION_DISABLE;
  hspi1.Init.CRCPolynomial = 10;
  if (HAL_SPI_Init(&hspi1) != HAL_OK)
  {
    Error_Handler();
  }

}

static void MX_TIM2_Init(void)
{

  TIM_ClockConfigTypeDef sClockSourceConfig = {0};
  TIM_MasterConfigTypeDef sMasterConfig = {0};

  htim2.Instance = TIM2;
  htim2.Init.Prescaler = 1600;
  htim2.Init.CounterMode = TIM_COUNTERMODE_UP;
  htim2.Init.Period = 100;
  htim2.Init.ClockDivision = TIM_CLOCKDIVISION_DIV1;
  htim2.Init.AutoReloadPreload = TIM_AUTORELOAD_PRELOAD_DISABLE;
  if (HAL_TIM_Base_Init(&htim2) != HAL_OK)
  {
    Error_Handler();
  }
  sClockSourceConfig.ClockSource = TIM_CLOCKSOURCE_INTERNAL;
  if (HAL_TIM_ConfigClockSource(&htim2, &sClockSourceConfig) != HAL_OK)
  {
    Error_Handler();
  }
  sMasterConfig.MasterOutputTrigger = TIM_TRGO_UPDATE;
  sMasterConfig.MasterSlaveMode = TIM_MASTERSLAVEMODE_DISABLE;
  if (HAL_TIMEx_MasterConfigSynchronization(&htim2, &sMasterConfig) != HAL_OK)
  {
    Error_Handler();
  }

}

static void MX_TIM3_Init(void)
{

  TIM_ClockConfigTypeDef sClockSourceConfig = {0};
  TIM_MasterConfigTypeDef sMasterConfig = {0};

  htim3.Instance = TIM3;
  htim3.Init.Prescaler = 48000;
  htim3.Init.CounterMode = TIM_COUNTERMODE_UP;
  htim3.Init.Period = 9;
  htim3.Init.ClockDivision = TIM_CLOCKDIVISION_DIV1;
  htim3.Init.AutoReloadPreload = TIM_AUTORELOAD_PRELOAD_DISABLE;
  if (HAL_TIM_Base_Init(&htim3) != HAL_OK)
  {
    Error_Handler();
  }
  sClockSourceConfig.ClockSource = TIM_CLOCKSOURCE_INTERNAL;
  if (HAL_TIM_ConfigClockSource(&htim3, &sClockSourceConfig) != HAL_OK)
  {
    Error_Handler();
  }
  sMasterConfig.MasterOutputTrigger = TIM_TRGO_RESET;
  sMasterConfig.MasterSlaveMode = TIM_MASTERSLAVEMODE_DISABLE;
  if (HAL_TIMEx_MasterConfigSynchronization(&htim3, &sMasterConfig) != HAL_OK)
  {
    Error_Handler();
  }

}

static void MX_TIM10_Init(void)
{

  htim10.Instance = TIM10;
  htim10.Init.Prescaler = 48000;
  htim10.Init.CounterMode = TIM_COUNTERMODE_UP;
  htim10.Init.Period = 10;
  htim10.Init.ClockDivision = TIM_CLOCKDIVISION_DIV1;
  htim10.Init.AutoReloadPreload = TIM_AUTORELOAD_PRELOAD_DISABLE;
  if (HAL_TIM_Base_Init(&htim10) != HAL_OK)
  {
    Error_Handler();
  }

}

static void MX_UART4_Init(void)
{

  huart4.Instance = UART4;
  huart4.Init.BaudRate = 9600;
  huart4.Init.WordLength = UART_WORDLENGTH_8B;
  huart4.Init.StopBits = UART_STOPBITS_1;
  huart4.Init.Parity = UART_PARITY_NONE;
  huart4.Init.Mode = UART_MODE_TX_RX;
  huart4.Init.HwFlowCtl = UART_HWCONTROL_NONE;
  huart4.Init.OverSampling = UART_OVERSAMPLING_16;
  if (HAL_UART_Init(&huart4) != HAL_OK)
  {
    Error_Handler();
  }

}

static void MX_UART5_Init(void)
{

  huart5.Instance = UART5;
  huart5.Init.BaudRate = 9600;
  huart5.Init.WordLength = UART_WORDLENGTH_8B;
  huart5.Init.StopBits = UART_STOPBITS_1;
  huart5.Init.Parity = UART_PARITY_NONE;
  huart5.Init.Mode = UART_MODE_TX_RX;
  huart5.Init.HwFlowCtl = UART_HWCONTROL_NONE;
  huart5.Init.OverSampling = UART_OVERSAMPLING_16;
  if (HAL_UART_Init(&huart5) != HAL_OK)
  {
    Error_Handler();
  }

}

static void MX_USART1_UART_Init(void)
{

  huart1.Instance = USART1;
  huart1.Init.BaudRate = 9600;
  huart1.Init.WordLength = UART_WORDLENGTH_8B;
  huart1.Init.StopBits = UART_STOPBITS_1;
  huart1.Init.Parity = UART_PARITY_NONE;
  huart1.Init.Mode = UART_MODE_TX_RX;
  huart1.Init.HwFlowCtl = UART_HWCONTROL_NONE;
  huart1.Init.OverSampling = UART_OVERSAMPLING_16;
  if (HAL_UART_Init(&huart1) != HAL_OK)
  {
    Error_Handler();
  }

}

static void MX_USART2_UART_Init(void)
{

  huart2.Instance = USART2;
  huart2.Init.BaudRate = 9600;
  huart2.Init.WordLength = UART_WORDLENGTH_8B;
  huart2.Init.StopBits = UART_STOPBITS_1;
  huart2.Init.Parity = UART_PARITY_NONE;
  huart2.Init.Mode = UART_MODE_TX_RX;
  huart2.Init.HwFlowCtl = UART_HWCONTROL_NONE;
  huart2.Init.OverSampling = UART_OVERSAMPLING_16;
  if (HAL_UART_Init(&huart2) != HAL_OK)
  {
    Error_Handler();
  }

}

static void MX_USART3_UART_Init(void)
{

  huart3.Instance = USART3;
  huart3.Init.BaudRate = 9600;
  huart3.Init.WordLength = UART_WORDLENGTH_8B;
  huart3.Init.StopBits = UART_STOPBITS_1;
  huart3.Init.Parity = UART_PARITY_NONE;
  huart3.Init.Mode = UART_MODE_TX_RX;
  huart3.Init.HwFlowCtl = UART_HWCONTROL_NONE;
  huart3.Init.OverSampling = UART_OVERSAMPLING_16;
  if (HAL_UART_Init(&huart3) != HAL_OK)
  {
    Error_Handler();
  }

}

static void MX_USART6_UART_Init(void)
{

  huart6.Instance = USART6;
  huart6.Init.BaudRate = 9600;
  huart6.Init.WordLength = UART_WORDLENGTH_8B;
  huart6.Init.StopBits = UART_STOPBITS_1;
  huart6.Init.Parity = UART_PARITY_NONE;
  huart6.Init.Mode = UART_MODE_TX_RX;
  huart6.Init.HwFlowCtl = UART_HWCONTROL_NONE;
  huart6.Init.OverSampling = UART_OVERSAMPLING_16;
  if (HAL_UART_Init(&huart6) != HAL_OK)
  {
    Error_Handler();
  }

}

static void MX_DMA_Init(void)
{
  /* DMA controller clock enable */
  __HAL_RCC_DMA2_CLK_ENABLE();

  /* DMA interrupt init */
  /* DMA2_Stream0_IRQn interrupt configuration */
  HAL_NVIC_SetPriority(DMA2_Stream0_IRQn, 0, 0);
  HAL_NVIC_EnableIRQ(DMA2_Stream0_IRQn);

}

static void MX_GPIO_Init(void)
{
  GPIO_InitTypeDef GPIO_InitStruct = {0};

  /* GPIO Ports Clock Enable */
  __HAL_RCC_GPIOC_CLK_ENABLE();
  __HAL_RCC_GPIOH_CLK_ENABLE();
  __HAL_RCC_GPIOA_CLK_ENABLE();
  __HAL_RCC_GPIOB_CLK_ENABLE();
  __HAL_RCC_GPIOD_CLK_ENABLE();

  /*Configure GPIO pin Output Level */
  HAL_GPIO_WritePin(IND_R_GPIO_Port, IND_R_Pin, GPIO_PIN_SET);

  /*Configure GPIO pin Output Level */
  HAL_GPIO_WritePin(GPIOA, NSS_Pin|IND_G_Pin, GPIO_PIN_SET);

  /*Configure GPIO pin Output Level */
  HAL_GPIO_WritePin(GPIOB, D8_Pin|D7_Pin|D1_Pin|D2_Pin
                          |D3_Pin|D4_Pin|D9_Pin|D10_Pin
                          |D11_Pin|D12_Pin, GPIO_PIN_RESET);

  /*Configure GPIO pin Output Level */
  HAL_GPIO_WritePin(GPIOC, D5_Pin|D6_Pin, GPIO_PIN_RESET);

  /*Configure GPIO pin Output Level */
  HAL_GPIO_WritePin(RLY_GPIO_Port, RLY_Pin, GPIO_PIN_RESET);

  /*Configure GPIO pin Output Level */
  HAL_GPIO_WritePin(IND_B_GPIO_Port, IND_B_Pin, GPIO_PIN_SET);

  /*Configure GPIO pins : IND_R_Pin D5_Pin D6_Pin */
  GPIO_InitStruct.Pin = IND_R_Pin|D5_Pin|D6_Pin;
  GPIO_InitStruct.Mode = GPIO_MODE_OUTPUT_PP;
  GPIO_InitStruct.Pull = GPIO_NOPULL;
  GPIO_InitStruct.Speed = GPIO_SPEED_FREQ_LOW;
  HAL_GPIO_Init(GPIOC, &GPIO_InitStruct);

  /*Configure GPIO pin : NSS_Pin */
  GPIO_InitStruct.Pin = NSS_Pin;
  GPIO_InitStruct.Mode = GPIO_MODE_OUTPUT_PP;
  GPIO_InitStruct.Pull = GPIO_NOPULL;
  GPIO_InitStruct.Speed = GPIO_SPEED_FREQ_MEDIUM;
  HAL_GPIO_Init(NSS_GPIO_Port, &GPIO_InitStruct);

  /*Configure GPIO pins : D8_Pin D7_Pin D1_Pin D2_Pin
                           D3_Pin D4_Pin D9_Pin D10_Pin
                           D11_Pin D12_Pin IND_B_Pin */
  GPIO_InitStruct.Pin = D8_Pin|D7_Pin|D1_Pin|D2_Pin
                          |D3_Pin|D4_Pin|D9_Pin|D10_Pin
                          |D11_Pin|D12_Pin|IND_B_Pin;
  GPIO_InitStruct.Mode = GPIO_MODE_OUTPUT_PP;
  GPIO_InitStruct.Pull = GPIO_NOPULL;
  GPIO_InitStruct.Speed = GPIO_SPEED_FREQ_LOW;
  HAL_GPIO_Init(GPIOB, &GPIO_InitStruct);

  /*Configure GPIO pins : IND_G_Pin RLY_Pin */
  GPIO_InitStruct.Pin = IND_G_Pin|RLY_Pin;
  GPIO_InitStruct.Mode = GPIO_MODE_OUTPUT_PP;
  GPIO_InitStruct.Pull = GPIO_NOPULL;
  GPIO_InitStruct.Speed = GPIO_SPEED_FREQ_LOW;
  HAL_GPIO_Init(GPIOA, &GPIO_InitStruct);

}

/* USER CODE BEGIN 4 */
/**
 * @brief Re-targets the C library printf function to the USART.
 * @param None
 * @retval None
 */
PUTCHAR_PROTOTYPE
{
 /* Place your implementation of fputc here */
 /* e.g. write a character to the USART1 and Loop until the end of transmission */
	HAL_UART_Transmit(&huart1, (uint8_t *)&ch, 1, 0xFFFF);

return ch;
}
/* USER CODE END 4 */

void Error_Handler(void)
{
  /* USER CODE BEGIN Error_Handler_Debug */
  /* User can add his own implementation to report the HAL error return state */
	/*
	int i=10;
	while(i>0){
		HAL_GPIO_TogglePin(GPIOC,GPIO_PIN_13);		//IND-Red
		HAL_Delay(1000);
		i--;
	}
	*/

  /* USER CODE END Error_Handler_Debug */
}

/************************ (C) COPYRIGHT STMicroelectronics *****END OF FILE****/
